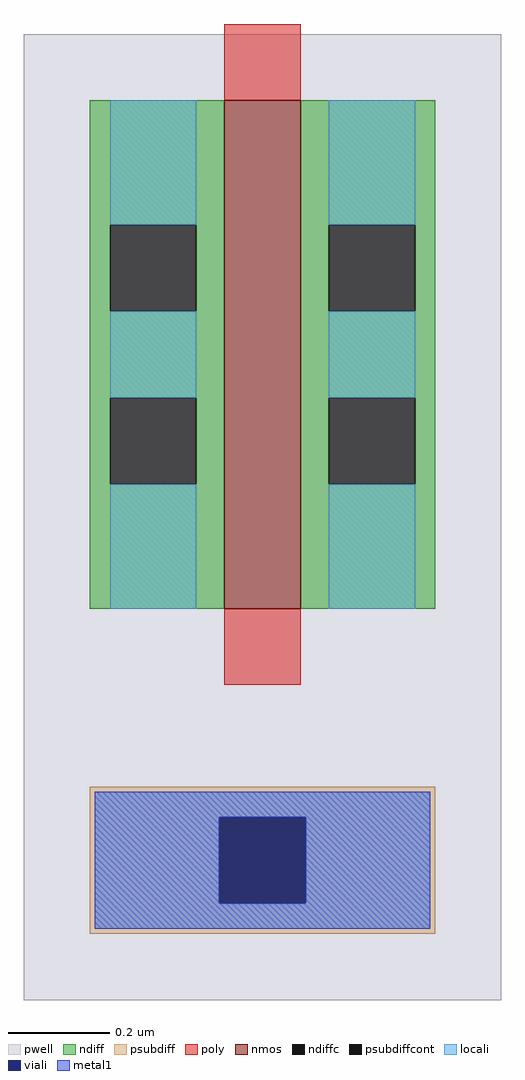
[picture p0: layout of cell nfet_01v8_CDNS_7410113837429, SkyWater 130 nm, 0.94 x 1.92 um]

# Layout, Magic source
magic
tech sky130A
magscale 1 2
<< pwell >>
rect -79 -154 109 226
<< nmos >>
rect 0 0 30 200
<< ndiff >>
rect -53 151 0 200
rect -53 117 -45 151
rect -11 117 0 151
rect -53 83 0 117
rect -53 49 -45 83
rect -11 49 0 83
rect -53 0 0 49
rect 30 151 83 200
rect 30 117 41 151
rect 75 117 83 151
rect 30 83 83 117
rect 30 49 41 83
rect 75 49 83 83
rect 30 0 83 49
<< ndiffc >>
rect -45 117 -11 151
rect -45 49 -11 83
rect 41 117 75 151
rect 41 49 75 83
<< psubdiff >>
rect -53 -82 83 -70
rect -53 -116 -2 -82
rect 32 -116 83 -82
rect -53 -128 83 -116
<< psubdiffcont >>
rect -2 -116 32 -82
<< poly >>
rect 0 200 30 230
rect 0 -30 30 0
<< locali >>
rect -45 151 -11 200
rect -45 83 -11 117
rect -45 0 -11 49
rect 41 151 75 200
rect 41 83 75 117
rect 41 0 75 49
rect -51 -82 81 -72
rect -51 -116 -2 -82
rect 32 -116 81 -82
rect -51 -126 81 -116
<< viali >>
rect -2 -116 32 -82
<< metal1 >>
rect -51 -82 81 -72
rect -51 -116 -2 -82
rect 32 -116 81 -82
rect -51 -126 81 -116
<< end >>
